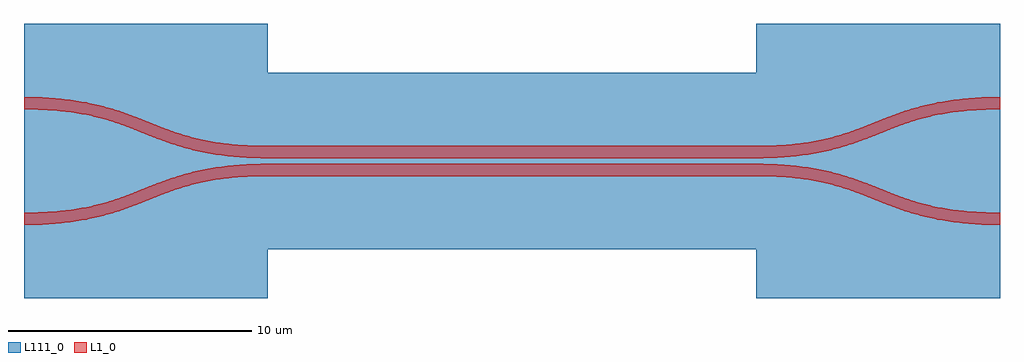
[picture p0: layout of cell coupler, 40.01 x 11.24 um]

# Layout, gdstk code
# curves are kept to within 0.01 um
import gdstk
lib = gdstk.Library(unit=1e-6, precision=1e-09)
def R(c, l, rs):  # rectangles x0, y0, x1, y1
    for r in rs: c.add(gdstk.rectangle(r[:2], r[2:], *l))
def P(c, l, *ps):  # polygons
    for p in ps: c.add(gdstk.Polygon(p, *l))
L1_0 = (1, 0)
L111_0 = (111, 0)

coupler = lib.new_cell('coupler')
R(coupler, L1_0, [(0,0,20.007,0.5), (0,0.736,20.007,1.236)])
P(coupler, L1_0, [(0,0),(-0.851,-0.021),(-1.603,-0.081),(-2.269,-0.174),(-2.864,-0.294),(-3.402,-0.437),(-3.98,-0.626),(-5.609,-1.257),(-6.105,-1.432),(-6.639,-1.595),(-7.326,-1.759),(-7.87,-1.855),(-8.593,-1.941),(-9.262,-1.985),(-10,-2),(-10,-1.5),(-9.149,-1.479),(-8.397,-1.419),(-7.731,-1.326),(-7.136,-1.206),(-6.598,-1.063),(-6.02,-0.874),(-4.391,-0.243),(-3.895,-0.068),(-3.361,0.095),(-2.674,0.259),(-2.13,0.355),(-1.407,0.441),(-0.738,0.485),(0,0.5)],
  [(0,1.236),(-0.851,1.257),(-1.603,1.317),(-2.269,1.41),(-2.864,1.53),(-3.402,1.673),(-3.98,1.862),(-5.609,2.493),(-6.105,2.668),(-6.639,2.831),(-7.326,2.995),(-7.87,3.091),(-8.593,3.177),(-9.262,3.221),(-10,3.236),(-10,2.736),(-9.149,2.715),(-8.397,2.655),(-7.731,2.562),(-7.136,2.442),(-6.598,2.299),(-6.02,2.11),(-4.391,1.479),(-3.895,1.304),(-3.361,1.141),(-2.674,0.977),(-2.13,0.881),(-1.407,0.795),(-0.738,0.751),(0,0.736)],
  [(20.007,1.236),(20.858,1.257),(21.61,1.317),(22.276,1.41),(22.871,1.53),(23.409,1.673),(23.987,1.862),(25.616,2.493),(26.112,2.668),(26.646,2.831),(27.333,2.995),(27.877,3.091),(28.6,3.177),(29.269,3.221),(30.007,3.236),(30.007,2.736),(29.156,2.715),(28.404,2.655),(27.738,2.562),(27.143,2.442),(26.605,2.299),(26.027,2.11),(24.398,1.479),(23.902,1.304),(23.368,1.141),(22.681,0.977),(22.137,0.881),(21.414,0.795),(20.745,0.751),(20.007,0.736)],
  [(20.007,0),(20.858,-0.021),(21.61,-0.081),(22.276,-0.174),(22.871,-0.294),(23.409,-0.437),(23.987,-0.626),(25.616,-1.257),(26.112,-1.432),(26.646,-1.595),(27.333,-1.759),(27.877,-1.855),(28.6,-1.941),(29.269,-1.985),(30.007,-2),(30.007,-1.5),(29.156,-1.479),(28.404,-1.419),(27.738,-1.326),(27.143,-1.206),(26.605,-1.063),(26.027,-0.874),(24.398,-0.243),(23.902,-0.068),(23.368,0.095),(22.681,0.259),(22.137,0.355),(21.414,0.441),(20.745,0.485),(20.007,0.5)])
R(coupler, L111_0, [(-10,-5,0,3.5), (20.007,-5,30.007,3.5), (0,-3,20.007,4.236), (-10,-2.264,0,6.236), (20.007,-2.264,30.007,6.236)])

lib.write_gds('coupler.gds')
